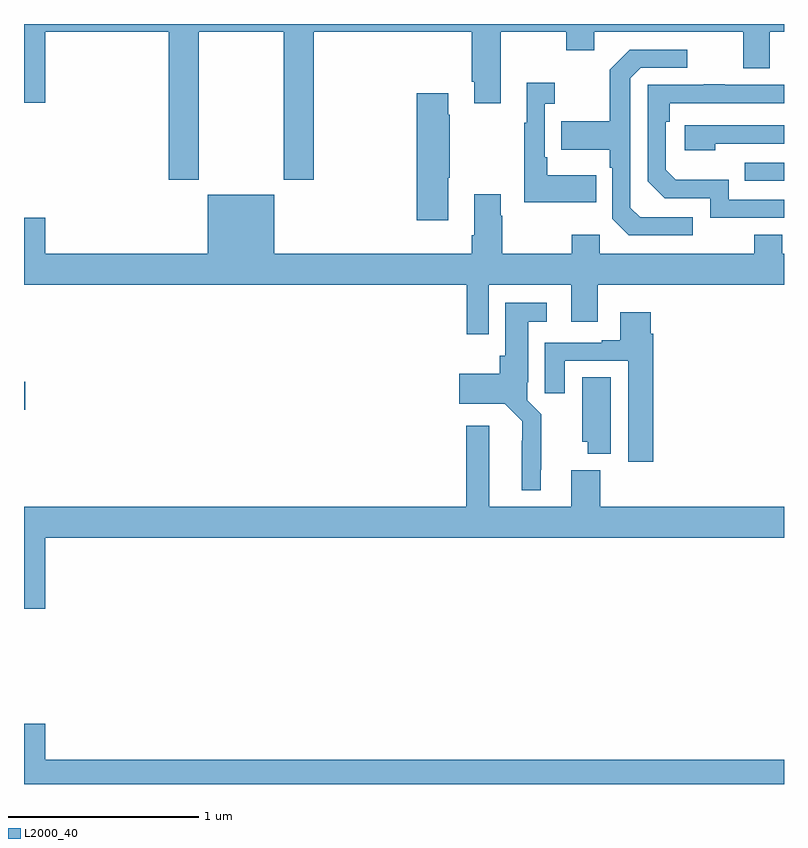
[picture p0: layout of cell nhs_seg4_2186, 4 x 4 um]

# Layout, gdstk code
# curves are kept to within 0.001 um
import gdstk
lib = gdstk.Library(unit=1e-6, precision=1e-09)
def R(c, l, rs):  # rectangles x0, y0, x1, y1
    for r in rs: c.add(gdstk.rectangle(r[:2], r[2:], *l))
def P(c, l, *ps):  # polygons
    for p in ps: c.add(gdstk.Polygon(p, *l))
L2000_40 = (2000, 40)

nhs_seg4_2186 = lib.new_cell('nhs_seg4_2186')
R(nhs_seg4_2186, L2000_40, [(225,754.871,225.007,755.018), (228.793,756.075,229,756.171)])
P(nhs_seg4_2186, L2000_40, [(225.921,756.86),(226.366,756.86),(226.366,756.081),(226.526,756.081),(226.526,756.86),(227.357,756.86),(227.357,756.595),(227.369,756.595),(227.369,756.483),(227.509,756.483),(227.509,756.86),(227.854,756.86),(227.854,756.761),(228.001,756.761),(228.001,756.86),(228.785,756.86),(228.785,756.666),(228.925,756.666),(228.925,756.86),(229,756.86),(229,756.9),(225,756.9),(225,756.486),(225.112,756.486),(225.112,756.86),(225.761,756.86),(225.761,756.081),(225.921,756.081)],
  [(228.52,755.883),(228.243,755.883),(228.192,755.934),(228.192,756.615),(228.246,756.669),(228.49,756.669),(228.49,756.765),(228.189,756.765),(228.084,756.659),(228.084,756.387),(227.827,756.387),(227.827,756.239),(228.084,756.239),(228.084,756.143),(228.096,756.143),(228.096,755.874),(228.183,755.787),(228.52,755.787)],
  [(228.011,756.103),(227.755,756.103),(227.755,756.199),(227.742,756.199),(227.742,756.479),(227.794,756.479),(227.794,756.592),(227.645,756.592),(227.645,756.379),(227.634,756.379),(227.634,755.963),(228.011,755.963)],
  [(229,755.976),(228.708,755.976),(228.708,756.079),(228.431,756.079),(228.378,756.132),(228.378,756.386),(228.398,756.386),(228.398,756.483),(229,756.483),(229,756.579),(228.689,756.579),(228.689,756.584),(228.577,756.584),(228.577,756.579),(228.282,756.579),(228.282,756.072),(228.372,755.982),(228.612,755.982),(228.612,755.88),(229,755.88)],
  [(227.233,756.091),(227.241,756.091),(227.241,756.422),(227.233,756.422),(227.233,756.535),(227.066,756.535),(227.066,755.868),(227.233,755.868)],
  [(228.638,756.27),(229,756.27),(229,756.366),(228.477,756.366),(228.477,756.236),(228.638,756.236)],
  [(227.445,755.528),(227.879,755.528),(227.879,755.334),(228.019,755.334),(228.019,755.528),(229,755.528),(229,755.692),(228.991,755.692),(228.991,755.791),(228.844,755.791),(228.844,755.692),(228.03,755.692),(228.03,755.791),(227.884,755.791),(227.884,755.692),(227.517,755.692),(227.517,755.891),(227.509,755.891),(227.509,756.004),(227.369,756.004),(227.369,755.788),(227.357,755.788),(227.357,755.692),(226.318,755.692),(226.318,756.001),(225.968,756.001),(225.968,755.692),(225.112,755.692),(225.112,755.881),(225,755.881),(225,755.528),(227.329,755.528),(227.329,755.268),(227.445,755.268)],
  [(227.719,754.555),(227.723,754.555),(227.723,754.846),(227.649,754.92),(227.649,755.014),(227.653,755.014),(227.653,755.333),(227.752,755.333),(227.752,755.434),(227.534,755.434),(227.534,755.154),(227.504,755.154),(227.504,755.059),(227.292,755.059),(227.292,754.901),(227.529,754.901),(227.622,754.808),(227.621,754.445),(227.719,754.445)],
  [(228.311,755.27),(228.298,755.27),(228.298,755.383),(228.137,755.383),(228.137,755.236),(228.041,755.236),(228.041,755.223),(227.741,755.223),(227.741,754.956),(227.845,754.956),(227.845,755.127),(228.179,755.127),(228.179,754.596),(228.311,754.596)],
  [(228.088,755.042),(227.939,755.042),(227.939,754.701),(227.966,754.701),(227.966,754.637),(228.088,754.637)],
  [(225.112,754.196),(229,754.196),(229,754.36),(228.032,754.36),(228.032,754.552),(227.879,754.552),(227.879,754.36),(227.449,754.36),(227.449,754.786),(227.327,754.786),(227.327,754.36),(225,754.36),(225,753.822),(225.112,753.822)],
  [(229,753.028),(225.112,753.028),(225.112,753.217),(225,753.217),(225,752.9),(229,752.9)])

lib.write_gds('nhs_seg4_2186.gds')
